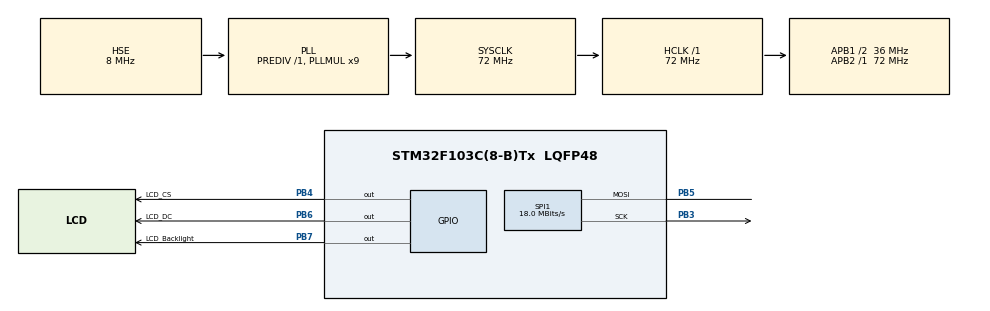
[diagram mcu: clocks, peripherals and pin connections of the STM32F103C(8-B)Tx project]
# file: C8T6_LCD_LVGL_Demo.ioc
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Mcu.Family=STM32F1
Mcu.Name=STM32F103C(8-B)Tx
Mcu.Package=LQFP48
NVIC.PriorityGroup=NVIC_PRIORITYGROUP_4
PA13.Mode=Serial_Wire
PA13.Signal=SYS_JTMS-SWDIO
PA14.Mode=Serial_Wire
PA14.Signal=SYS_JTCK-SWCLK
PB3.Mode=Simplex_Bidirectional_Master
PB3.Signal=SPI1_SCK
PB4.GPIO_Label=LCD_CS
PB4.Signal=GPIO_Output
PB5.Mode=Simplex_Bidirectional_Master
PB5.Signal=SPI1_MOSI
PB6.GPIO_Label=LCD_DC
PB6.Signal=GPIO_Output
PB7.GPIO_Label=LCD_Backlight
PB7.Signal=GPIO_Output
PD0-OSC_IN.Mode=HSE-External-Oscillator
PD0-OSC_IN.Signal=RCC_OSC_IN
PD1-OSC_OUT.Mode=HSE-External-Oscillator
PD1-OSC_OUT.Signal=RCC_OSC_OUT
ProjectManager.HeapSize=0x200
ProjectManager.StackSize=0x400
ProjectManager.TargetToolchain=STM32CubeIDE
RCC.AHBFreq_Value=72000000
RCC.APB1CLKDivider=RCC_HCLK_DIV2
RCC.APB1Freq_Value=36000000
RCC.APB1TimFreq_Value=72000000
RCC.APB2Freq_Value=72000000
RCC.APB2TimFreq_Value=72000000
RCC.HCLKFreq_Value=72000000
RCC.PLLMUL=RCC_PLL_MUL9
RCC.PLLSourceVirtual=RCC_PLLSOURCE_HSE
RCC.SYSCLKFreq_VALUE=72000000
RCC.SYSCLKSource=RCC_SYSCLKSOURCE_PLLCLK
RCC.USBFreq_Value=72000000
SPI1.BaudRatePrescaler=SPI_BAUDRATEPRESCALER_4
SPI1.CalculateBaudRate=18.0 MBits/s
SPI1.Direction=SPI_DIRECTION_1LINE
SPI1.Mode=SPI_MODE_MASTER
SPI1.VirtualType=VM_MASTER
board=custom

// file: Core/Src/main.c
/* USER CODE BEGIN Header */
/**
  ******************************************************************************
  * @file           : main.c
  * @brief          : Main program body
  ******************************************************************************
  * @attention
  *
  * Copyright (c) 2024 STMicroelectronics.
  * All rights reserved.
  *
  * This software is licensed under terms that can be found in the LICENSE file
  * in the root directory of this software component.
  * If no LICENSE file comes with this software, it is provided AS-IS.
  *
  ******************************************************************************
  */
/* USER CODE END Header */
#include "main.h"
#include "spi.h"
#include "gpio.h"

/* USER CODE BEGIN Includes */
#include "lcd_spi_096.h"
/* USER CODE END Includes */

void SystemClock_Config(void);
/* USER CODE BEGIN PFP */
void 	LCD_Test_Clear(void);			// ????????
void 	LCD_Test_Text(void);			   // ???????
void 	LCD_Test_Variable (void);	   // ???????????????????С??
void 	LCD_Test_Color(void);			// ??????????
void 	LCD_Test_Grahic(void);		   // 2D??λ???
void 	LCD_Test_Image(void);			// ?????
void  LCD_Test_Direction(void);	   // ???????????
/* USER CODE END PFP */

int main(void)
{

  /* MCU Configuration--------------------------------------------------------*/

  /* Reset of all peripherals, Initializes the Flash interface and the Systick. */
  HAL_Init();

  /* Configure the system clock */
  SystemClock_Config();

  /* Initialize all configured peripherals */
  MX_GPIO_Init();
  MX_SPI1_Init();
  /* USER CODE BEGIN 2 */

// 为了传输效率，本例程的SPI通信采用寄存器操作，不用HAL库自带的收发函数，所以需要单独配置下面2个
    __HAL_SPI_ENABLE(&LCD_SPI);   // 使能SPI
    SPI_1LINE_TX(&LCD_SPI);       // 单线发送模式

    SPI_LCD_Init();
  /* USER CODE END 2 */

  /* Infinite loop */
  /* USER CODE BEGIN WHILE */
  while (1)
  {
      LCD_Test_Clear(); 		// ????????
//      LCD_Test_Text();			// ???????
//      LCD_Test_Variable();		// ???????????????????С??
//      LCD_Test_Color();			// ???????
      LCD_Test_Grahic();		// 2D??λ???
      LCD_Test_Image();			// ?????
      LCD_Test_Direction();	// ???????????
    /* USER CODE END WHILE */

  }
}

void SystemClock_Config(void)
{
  RCC_OscInitTypeDef RCC_OscInitStruct = {0};
  RCC_ClkInitTypeDef RCC_ClkInitStruct = {0};

  /** Initializes the RCC Oscillators according to the specified parameters
  * in the RCC_OscInitTypeDef structure.
  */
  RCC_OscInitStruct.OscillatorType = RCC_OSCILLATORTYPE_HSE;
  RCC_OscInitStruct.HSEState = RCC_HSE_ON;
  RCC_OscInitStruct.HSEPredivValue = RCC_HSE_PREDIV_DIV1;
  RCC_OscInitStruct.HSIState = RCC_HSI_ON;
  RCC_OscInitStruct.PLL.PLLState = RCC_PLL_ON;
  RCC_OscInitStruct.PLL.PLLSource = RCC_PLLSOURCE_HSE;
  RCC_OscInitStruct.PLL.PLLMUL = RCC_PLL_MUL9;
  if (HAL_RCC_OscConfig(&RCC_OscInitStruct) != HAL_OK)
  {
    Error_Handler();
  }

  /** Initializes the CPU, AHB and APB buses clocks
  */
  RCC_ClkInitStruct.ClockType = RCC_CLOCKTYPE_HCLK|RCC_CLOCKTYPE_SYSCLK
                              |RCC_CLOCKTYPE_PCLK1|RCC_CLOCKTYPE_PCLK2;
  RCC_ClkInitStruct.SYSCLKSource = RCC_SYSCLKSOURCE_PLLCLK;
  RCC_ClkInitStruct.AHBCLKDivider = RCC_SYSCLK_DIV1;
  RCC_ClkInitStruct.APB1CLKDivider = RCC_HCLK_DIV2;
  RCC_ClkInitStruct.APB2CLKDivider = RCC_HCLK_DIV1;

  if (HAL_RCC_ClockConfig(&RCC_ClkInitStruct, FLASH_LATENCY_2) != HAL_OK)
  {
    Error_Handler();
  }
}

/* USER CODE BEGIN 4 */
/*************************************************************************************************
*	?? ?? ??:	LCD_Test_Clear
*https://shop252966792.taobao.com
*	????????:	????????
*************************************************************************************************/
void LCD_Test_Clear(void)
{
    uint8_t	i = 0;			// ????????

    LCD_SetDirection(Direction_H_Flip);
    LCD_SetTextFont(&CH_Font16);			// ????2424????????,ASCII???????2412
    LCD_SetColor(LCD_BLACK);				// ??????????

    for(i=0;i<8;i++)
    {
        switch (i)		// ?л??????
        {
            case 0: LCD_SetBackColor(LIGHT_RED); 		break;
            case 1: LCD_SetBackColor(LIGHT_GREEN); 	break;
            case 2: LCD_SetBackColor(LIGHT_BLUE); 		break;
            case 3: LCD_SetBackColor(LIGHT_YELLOW); 	break;
            case 4: LCD_SetBackColor(LIGHT_CYAN);		break;
            case 5: LCD_SetBackColor(LIGHT_GREY); 		break;
            case 6: LCD_SetBackColor(LIGHT_MAGENTA); 	break;
            case 7: LCD_SetBackColor(LCD_WHITE); 		break;
            default:	break;
        }
        LCD_Clear();		// ????
        LCD_DisplayText(13, 5,"STM32 ???????");
        LCD_DisplayText(13,30,"????????:160*80");
        LCD_DisplayText(13,55,"??????:ST7735");
        HAL_Delay(1000);	// ???
    }
}

/*************************************************************************************************
*	?? ?? ??:	LCD_Test_Text
*
*	????????:	??????????
*https://shop252966792.taobao.com
*	?    ??:	?????????????????????С???????ASCII???
*************************************************************************************************/
void LCD_Test_Text(void)
{
    LCD_SetBackColor(LCD_BLACK); 			//	????????
    LCD_Clear(); 								// ????

    LCD_SetColor(LCD_CYAN);
//    LCD_SetAsciiFont(&ASCII_Font12); LCD_DisplayString(0,  0,"ASCII:12*12");
//    LCD_SetAsciiFont(&ASCII_Font16); LCD_DisplayString(0, 12,"ASCII:16*16");
//    LCD_SetAsciiFont(&ASCII_Font20); LCD_DisplayString(0, 28,"ASCII:20*20");
//    LCD_SetColor(LCD_WHITE);
//    LCD_SetAsciiFont(&ASCII_Font24); LCD_DisplayString(0, 48,"ASCII:2424");
//    LCD_SetColor(LCD_YELLOW);
//    LCD_SetAsciiFont(&ASCII_Font32); LCD_DisplayString(135, 25,"*");
//    LCD_SetAsciiFont(&ASCII_Font32); LCD_DisplayString(128,  0,"32"); LCD_DisplayString(128,  48,"32");

    HAL_Delay(2000);	// ??????
    LCD_Clear(); 								// ????

    LCD_SetTextFont(&CH_Font12);			// ????1212????????,ASCII???????1206
    LCD_SetColor(0X8AC6D1);					// ???????
    LCD_DisplayText(0, 0,"1212:??????");

    LCD_SetTextFont(&CH_Font16);			// ????1616????????,ASCII???????1608
    LCD_SetColor(0XC5E1A5);					// ???????
    LCD_DisplayText(0, 12,"1616:??????");

    LCD_SetTextFont(&CH_Font20);			// ????2020????????,ASCII???????2010
    LCD_SetColor(0XFFB549);					// ???????
    LCD_DisplayText(0, 28,"2020:??????");

    LCD_SetTextFont(&CH_Font24);			// ????2424????????,ASCII???????2412
    LCD_SetColor(0XFF585D);					// ???????
    LCD_DisplayText(0, 48,"2424:??????");

    HAL_Delay(2000);	// ??????
}
/************************************************************************************************
*	?? ?? ??:	LCD_Test_Variable
*https://shop252966792.taobao.com
*	????????:	???????????????????С??
*************************************************************************************************/
void LCD_Test_Variable (void)
{
    uint16_t i;					// ????????
    int32_t	a = 0;			// ?????????????????????
    int32_t	b = 0;			// ?????????????????????
    int32_t	c = 0;			// ?????????????????????

    double f = -1234.1234;	// ???帡?????????????????

    LCD_SetBackColor(LCD_BLACK); 			//	????????
    LCD_Clear(); 								// ????

    LCD_SetTextFont(&CH_Font16);
    LCD_SetColor(LIGHT_CYAN);					// ?????????????
    LCD_DisplayText(0, 0,"????:");

    LCD_SetColor(LIGHT_YELLOW);				// ?????????????
    LCD_DisplayText(0,20,"?????:");
    LCD_DisplayText(0,40,"???0:");

    LCD_SetColor(LIGHT_RED);					// ???????	???????
    LCD_DisplayText(0,60,"С??:");

    for(i=0;i<100;i++)
    {
        LCD_SetColor(LIGHT_CYAN);								// ???????	???????
        LCD_ShowNumMode(Fill_Space);							// ????λ?????
        LCD_DisplayNumber( 50,0, b+i*10, 4) ;				// ???????
        LCD_DisplayNumber( 100,0, c-i*10, 4) ;				// ???????

        LCD_SetColor(LIGHT_YELLOW);								// ?????????????

        LCD_ShowNumMode(Fill_Space);								// ????λ??? ???
        LCD_DisplayNumber( 80,20, a+i*150, 8) ;				// ???????

        LCD_ShowNumMode(Fill_Zero);								// ????λ???0
        LCD_DisplayNumber( 80,40, b+i*150, 8) ;				// ???????

        LCD_SetColor(LIGHT_RED);									// ?????????????
        LCD_ShowNumMode(Fill_Space);								// ????λ?????
        LCD_DisplayDecimals( 50,60, f+i*0.01, 11,4);		// ???С??

        HAL_Delay(15);
    }
    HAL_Delay(2500);
}
/*************************************************************************************************
*	?? ?? ??:	LCD_Test_Color
*https://shop252966792.taobao.com
*	????????:	?????
*************************************************************************************************/
void LCD_Test_Color(void)
{
    uint16_t i;					// ????????
    uint16_t y;
// ???????>>>>>
    LCD_SetBackColor(LCD_BLACK); //????????
    LCD_Clear(); //????????????

    LCD_SetTextFont(&CH_Font16);			// ????????
    LCD_SetColor(LCD_WHITE);				// ??????????
    LCD_DisplayText(0,0,"RGB?????:");

    //?????????????????????
    for(i=0;i<160;i++)
    {
        LCD_SetColor( LCD_RED-(i<<16) );
        LCD_DrawLine_V(0+i,  20,10);
    }
    for(i=0;i<240;i++)
    {
        LCD_SetColor( LCD_GREEN-(i<<8) );
        LCD_DrawLine_V(0+i,  30,10);
    }
    for(i=0;i<240;i++)
    {
        LCD_SetColor( LCD_BLUE-i );
        LCD_DrawLine_V(0+i,  40,10);
    }

    y = 50;
    LCD_SetColor(LIGHT_CYAN);    LCD_FillRect(85,y+5     ,75,10);  LCD_DisplayString(0,y     ,"LIGHT_CYAN");
    LCD_SetColor(LIGHT_MAGENTA); LCD_FillRect(105,y+16*1+5,55,10);  LCD_DisplayString(0,y+16*1,"LIGHT_MAGENTA");

    HAL_Delay(2000);
}

/*************************************************************************************************
*	?? ?? ??:	LCD_Test_Grahic
*
*	????????:	2D??λ???
*************************************************************************************************/
void LCD_Test_Grahic(void)
{
    LCD_SetBackColor(LCD_BLACK); //????????
    LCD_Clear(); //????????????

    LCD_SetColor(LCD_WHITE);
    LCD_DrawRect(0,0,160,80); 			//???????

    LCD_SetColor(LCD_RED);    LCD_FillCircle(50,40,30);		//??????
    LCD_SetColor(LCD_GREEN);  LCD_FillCircle(80,40,30);
    LCD_SetColor(LCD_BLUE);   LCD_FillCircle(110,40,30);

    HAL_Delay(1000);
    LCD_Clear(); //????????????

    LCD_SetColor(LIGHT_CYAN);
    LCD_DrawCircle(80,40,30);			//???????
    LCD_DrawCircle(80,40,20);

    LCD_SetColor(LIGHT_RED);
    LCD_DrawEllipse(80,40,70,28); 	//???????
    LCD_DrawEllipse(80,40,60,35); 	//???????

    HAL_Delay(1000);
}
/*************************************************************************************************
*	?? ?? ??:	LCD_Test_Image
*
*	????????:	?????????
*************************************************************************************************/
void LCD_Test_Image(void)
{
    LCD_SetBackColor(LCD_BLACK); 			//	????????
    LCD_Clear(); 								// ????

    LCD_SetColor( 0xffF6E58D);
    LCD_DrawImage( 10, 10, 60, 60, Image_Android_60x60) ;	   // ?????

    LCD_SetColor( 0xff9DD3A8);
    LCD_DrawImage( 90, 10, 60, 60, Image_Toys_60x60) ;		// ?????

    HAL_Delay(2000);
}
/*************************************************************************************************
*	?? ?? ??:	LCD_Test_Direction
*
*	????????:	???????????
*************************************************************************************************/
void  LCD_Test_Direction(void)
{
    LCD_SetDirection(Direction_V);
    LCD_SetBackColor(LCD_BLACK); 			//	????????
    LCD_Clear(); 								// ????
    LCD_SetTextFont(&CH_Font12);
    LCD_SetColor( 0xffDFF9FB);
    LCD_DisplayText(5,10,"Direction_V");
    LCD_SetColor( 0xffF6E58D);
    LCD_DrawImage( 10,50, 60, 60, Image_Android_60x60) ;	   // ?????
    LCD_SetTextFont(&CH_Font24);
    LCD_SetColor( 0xff9DD3A8);
    LCD_DisplayText(16,112,"????");
    LCD_DisplayText(16,136,"???");
    HAL_Delay(1000);	// ???

    LCD_SetDirection(Direction_H);
    LCD_SetBackColor(LCD_BLACK); 			//	????????
    LCD_Clear(); 								// ????
    LCD_SetTextFont(&CH_Font16);
    LCD_SetColor( 0xffDFF9FB);
    LCD_DisplayText(20,0,"Direction_H");
    LCD_SetColor( 0xffF6E58D);
    LCD_DrawImage( 30,20, 60, 60, Image_Android_60x60) ;	   // ?????
    LCD_SetTextFont(&CH_Font24);
    LCD_SetColor( 0xff9DD3A8);
    LCD_DisplayText(100,16,"????");
    LCD_DisplayText(100,40,"???");
    HAL_Delay(1000);	// ???

    LCD_SetDirection(Direction_V_Flip);
    LCD_SetBackColor(LCD_BLACK); 			//	????????
    LCD_Clear(); 								// ????
    LCD_SetTextFont(&CH_Font16);
    LCD_SetColor( 0xffDFF9FB);
    LCD_DisplayText(20,10,"_V_Flip");
    LCD_SetColor( 0xffF6E58D);
    LCD_DrawImage( 10,50, 60, 60, Image_Android_60x60) ;	   // ?????
    LCD_SetTextFont(&CH_Font24);
    LCD_SetColor( 0xff9DD3A8);
    LCD_DisplayText(16,112,"????");
    LCD_DisplayText(16,136,"???");
    HAL_Delay(1000);	// ???

    LCD_SetDirection(Direction_H_Flip);
    LCD_SetBackColor(LCD_BLACK); 			//	????????
    LCD_Clear(); 								// ????
    LCD_SetTextFont(&CH_Font16);
    LCD_SetColor( 0xffDFF9FB);
    LCD_DisplayText(20,0,"Direction_H_Flip");
    LCD_SetColor( 0xffF6E58D);
    LCD_DrawImage( 30,20, 60, 60, Image_Android_60x60) ;	   // ?????
    LCD_SetTextFont(&CH_Font24);
    LCD_SetColor( 0xff9DD3A8);
    LCD_DisplayText(100,16,"????");
    LCD_DisplayText(100,40,"???");
    HAL_Delay(1000);	// ???

}
/* USER CODE END 4 */

void Error_Handler(void)
{
  __disable_irq();
  while (1)
  {
  }
}
